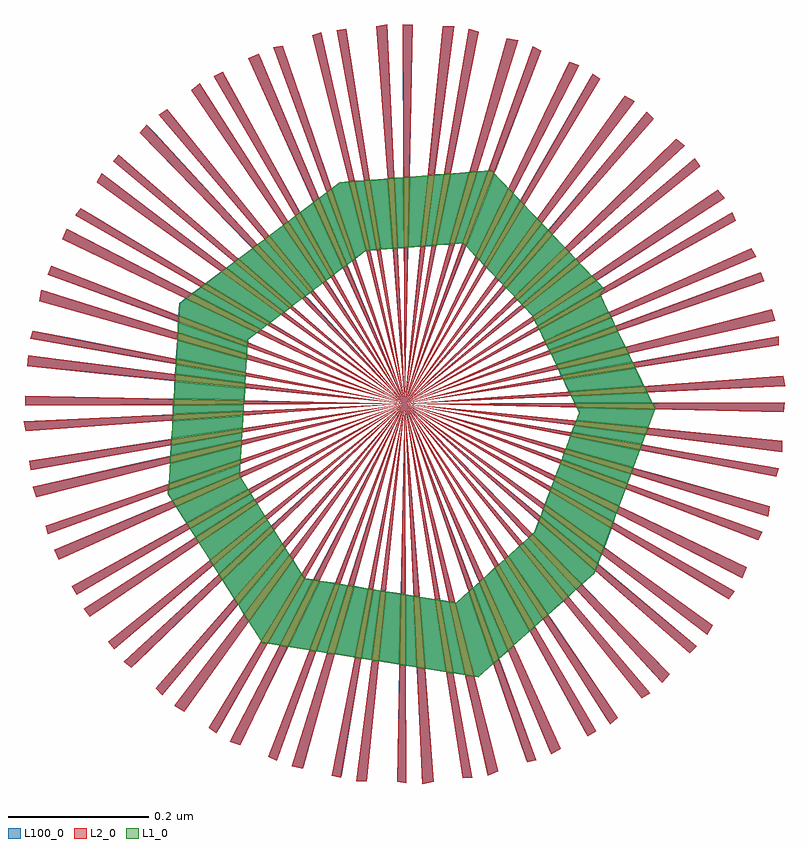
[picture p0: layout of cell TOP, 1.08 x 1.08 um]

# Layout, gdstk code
import gdstk
lib = gdstk.Library(unit=1e-6, precision=1e-09)
def R(c, l, rs):  # rectangles x0, y0, x1, y1
    for r in rs: c.add(gdstk.rectangle(r[:2], r[2:], *l))
def P(c, l, *ps):  # polygons
    for p in ps: c.add(gdstk.Polygon(p, *l))
L1_0 = (1, 0)
L2_0 = (2, 0)
L100_0 = (100, 0)

top = lib.new_cell('TOP')
P(top, L2_0, [(-0.329,2.401),(-0.601,2.867),(-0.588,2.873)],
  [(-0.329,2.401),(0.209,2.441),(0.212,2.426)],
  [(-0.329,2.401),(-0.147,2.909),(-0.135,2.903)],
  [(-0.718,2.025),(-0.729,2.034),(-0.329,2.401)],
  [(-0.329,2.401),(-0.516,2.908),(-0.503,2.91)],
  [(-0.329,2.401),(-0.744,2.746),(-0.736,2.755)],
  [(0.208,2.332),(-0.329,2.401),(0.208,2.348)],
  [(-0.329,2.401),(-0.862,2.493),(-0.858,2.505)],
  [(-0.474,1.882),(-0.49,1.885),(-0.329,2.401)],
  [(-0.329,2.401),(0.193,2.535),(0.198,2.519)],
  [(-0.329,2.401),(-0.238,2.934),(-0.224,2.93)],
  [(0.101,2.072),(-0.329,2.401),(0.109,2.086)],
  [(-0.329,2.401),(0.203,2.497),(0.203,2.484)],
  [(-0.796,2.129),(-0.803,2.141),(-0.329,2.401)],
  [(0.076,2.046),(-0.329,2.401),(0.086,2.056)],
  [(-0.329,2.401),(0.116,2.705),(0.126,2.693)],
  [(0.008,1.982),(-0.329,2.401),(0.02,1.989)],
  [(-0.329,2.401),(-0.461,2.925),(-0.448,2.929)],
  [(-0.853,2.268),(-0.858,2.283),(-0.329,2.401)],
  [(-0.329,2.401),(-0.706,2.786),(-0.696,2.798)],
  [(-0.329,2.401),(-0.849,2.547),(-0.846,2.563)],
  [(-0.868,2.362),(-0.871,2.376),(-0.329,2.401)],
  [(-0.211,1.872),(-0.329,2.401),(-0.196,1.878)],
  [(0.174,2.207),(-0.329,2.401),(0.179,2.219)],
  [(-0.329,2.401),(-0.866,2.454),(-0.865,2.47)],
  [(-0.069,1.928),(-0.329,2.401),(-0.057,1.935)],
  [(-0.327,1.861),(-0.34,1.863),(-0.329,2.401)],
  [(-0.861,2.306),(-0.863,2.32),(-0.329,2.401)],
  [(-0.742,2.052),(-0.751,2.062),(-0.329,2.401)],
  [(-0.329,2.401),(-0.332,2.941),(-0.318,2.94)],
  [(-0.329,2.401),(-0.816,2.635),(-0.81,2.65)],
  [(-0.329,2.401),(0.137,2.673),(0.142,2.661)],
  [(-0.329,2.401),(-0.062,2.87),(-0.051,2.863)],
  [(-0.247,1.868),(-0.329,2.401),(-0.233,1.869)],
  [(-0.329,2.401),(-0.184,2.921),(-0.168,2.918)],
  [(-0.563,1.915),(-0.578,1.92),(-0.329,2.401)],
  [(0.037,2.004),(-0.329,2.401),(0.048,2.016)],
  [(-0.837,2.215),(-0.84,2.227),(-0.329,2.401)],
  [(-0.329,2.401),(-0.679,2.812),(-0.667,2.82)],
  [(-0.329,2.401),(-0.798,2.669),(-0.79,2.679)],
  [(-0.329,2.401),(0.083,2.75),(0.091,2.739)],
  [(-0.869,2.398),(-0.869,2.412),(-0.329,2.401)],
  [(-0.42,1.869),(-0.433,1.872),(-0.329,2.401)],
  [(-0.329,2.401),(0.057,2.778),(0.069,2.768)],
  [(-0.329,2.401),(0.164,2.622),(0.171,2.61)],
  [(-0.777,2.098),(-0.786,2.109),(-0.329,2.401)],
  [(-0.329,2.401),(-0.633,2.847),(-0.621,2.857)],
  [(-0.329,2.401),(-0.275,2.938),(-0.259,2.938)],
  [(-0.511,1.893),(-0.523,1.899),(-0.329,2.401)],
  [(-0.643,1.963),(-0.657,1.971),(-0.329,2.401)],
  [(-0.329,2.401),(-0.426,2.932),(-0.412,2.934)],
  [(0.188,2.24),(-0.329,2.401),(0.19,2.255)],
  [(-0.329,2.401),(0.015,2.816),(0.025,2.806)],
  [(-0.329,2.401),(-0.016,2.839),(-0.002,2.831)],
  [(-0.155,1.891),(-0.329,2.401),(-0.142,1.894)],
  [(-0.329,2.401),(-0.837,2.584),(-0.832,2.597)],
  [(-0.304,1.86),(-0.329,2.401),(-0.288,1.863)],
  [(0.199,2.297),(-0.329,2.401),(0.203,2.309)],
  [(-0.329,2.401),(0.177,2.588),(0.182,2.575)],
  [(-0.037,1.945),(-0.329,2.401),(-0.026,1.954)],
  [(0.21,2.389),(-0.329,2.401),(0.211,2.403)],
  [(-0.398,1.864),(-0.329,2.401),(-0.383,1.864)],
  [(-0.329,2.401),(-0.37,2.938),(-0.354,2.941)],
  [(-0.597,1.932),(-0.608,1.94),(-0.329,2.401)],
  [(-0.329,2.401),(-0.552,2.892),(-0.537,2.899)],
  [(0.132,2.123),(-0.329,2.401),(0.14,2.134)],
  [(-0.329,2.401),(-0.095,2.887),(-0.081,2.882)],
  [(-0.821,2.179),(-0.828,2.193),(-0.329,2.401)],
  [(0.151,2.153),(-0.329,2.401),(0.157,2.168)],
  [(-0.674,1.986),(-0.683,1.996),(-0.329,2.401)],
  [(-0.121,1.902),(-0.329,2.401),(-0.107,1.91)],
  [(-0.329,2.401),(-0.767,2.716),(-0.76,2.729)])
R(top, L100_0, [(-0.659,2.39,-0.558,2.399), (0.027,2.393,0.21,2.394)])
P(top, L100_0, [(-0.085,2.377),(-0.081,2.388),(0.025,2.388),(0.021,2.377)],
  [(-0.862,2.493),(-0.858,2.505),(-0.797,2.493)],
  [(-0.563,2.321),(-0.329,2.401),(-0.547,2.321)],
  [(-0.142,2.258),(-0.329,2.401),(-0.13,2.258)],
  [(-0.335,2.131),(-0.329,2.401),(-0.328,2.131)],
  [(-0.035,2.224),(-0.032,2.232),(-0.018,2.224)],
  [(-0.035,2.524),(-0.039,2.531),(-0.018,2.531)],
  [(0.114,2.134),(-0.035,2.224),(-0.018,2.224),(0.14,2.134)],
  [(-0.085,2.396),(-0.329,2.401),(-0.088,2.401)],
  [(-0.111,2.45),(-0.066,2.46),(-0.005,2.46),(-0.059,2.45)],
  [(-0.185,2.918),(-0.184,2.921),(-0.168,2.918)],
  [(-0.203,2.172),(-0.329,2.401),(-0.196,2.172)],
  [(-0.837,2.215),(-0.84,2.227),(-0.804,2.227)],
  [(-0.555,2.445),(-0.65,2.464),(-0.554,2.464)],
  [(-0.101,2.623),(0.047,2.768),(0.069,2.768),(-0.088,2.623)],
  [(-0.868,2.362),(-0.871,2.376),(-0.674,2.376)],
  [(-0.296,2.727),(-0.275,2.938),(-0.259,2.938),(-0.287,2.727)],
  [(-0.264,2.728),(-0.237,2.731),(-0.238,2.728)],
  [(-0.363,2.62),(-0.363,2.621),(-0.346,2.621)],
  [(-0.324,2.623),(-0.324,2.624),(-0.307,2.624)],
  [(-0.049,2.187),(-0.045,2.197),(-0.031,2.187)],
  [(-0.139,2.234),(-0.147,2.241),(-0.136,2.241)],
  [(-0.627,2.211),(-0.635,2.223),(-0.608,2.223)],
  [(-0.543,2.264),(-0.329,2.401),(-0.532,2.264)],
  [(-0.329,2.401),(-0.088,2.402),(-0.088,2.401)],
  [(-0.26,2.018),(-0.279,2.12),(-0.266,2.12),(-0.244,2.018)],
  [(-0.534,2.061),(-0.533,2.063),(-0.532,2.061)],
  [(-0.088,2.37),(-0.142,2.377),(-0.085,2.377)],
  [(-0.472,2.153),(-0.476,2.159),(-0.468,2.159),(-0.471,2.153)],
  [(-0.284,2.626),(-0.284,2.627),(-0.266,2.627)],
  [(-0.49,1.885),(-0.44,2.045),(-0.429,2.045),(-0.473,1.885)],
  [(0.027,2.394),(0.023,2.402),(0.211,2.402),(0.21,2.394)],
  [(-0.022,2.831),(-0.016,2.839),(-0.002,2.831)],
  [(-0.869,2.398),(-0.869,2.399),(-0.659,2.399)],
  [(-0.828,2.193),(-0.682,2.254),(-0.655,2.254),(-0.79,2.193)],
  [(0.188,2.24),(0.14,2.255),(0.19,2.255)],
  [(0.017,2.367),(-0.085,2.377),(0.021,2.377)],
  [(-0.656,2.443),(-0.655,2.457),(-0.573,2.443)],
  [(0.047,2.768),(0.057,2.778),(0.069,2.768)],
  [(-0.478,2.673),(-0.459,2.687),(-0.453,2.673)],
  [(-0.286,2.123),(-0.329,2.401),(-0.279,2.123)],
  [(-0.869,2.408),(-0.869,2.412),(-0.658,2.408)],
  [(-0.329,2.401),(-0.137,2.472),(-0.121,2.472)],
  [(-0.189,2.57),(-0.196,2.576),(-0.184,2.576)],
  [(-0.655,2.254),(-0.6,2.279),(-0.552,2.279),(-0.598,2.254)],
  [(0.116,2.661),(0.137,2.673),(0.142,2.661)],
  [(-0.619,2.567),(-0.628,2.572),(-0.613,2.572)],
  [(-0.572,2.123),(-0.589,2.15),(-0.548,2.15)],
  [(-0.329,2.401),(-0.135,2.436),(-0.104,2.436)],
  [(-0.213,2.594),(-0.171,2.664),(-0.141,2.664),(-0.191,2.594)],
  [(-0.199,2.049),(-0.232,2.139),(-0.22,2.139),(-0.182,2.049)],
  [(-0.488,2.179),(-0.493,2.186),(-0.483,2.186)],
  [(-0.329,2.401),(-0.33,2.622),(-0.324,2.622)],
  [(-0.528,2.241),(-0.329,2.401),(-0.519,2.241)],
  [(-0.546,2.513),(-0.632,2.558),(-0.603,2.558),(-0.525,2.513)],
  [(-0.124,2.477),(-0.128,2.485),(-0.103,2.485)],
  [(-0.499,2.196),(-0.503,2.202),(-0.494,2.202)],
  [(-0.06,2.574),(-0.056,2.576),(-0.054,2.574)],
  [(-0.751,2.062),(-0.615,2.171),(-0.602,2.171),(-0.73,2.062)],
  [(-0.66,2.263),(-0.666,2.272),(-0.638,2.272)],
  [(-0.402,2.138),(-0.401,2.142),(-0.381,2.138)],
  [(-0.159,2.216),(-0.329,2.401),(-0.148,2.216)],
  [(-0.201,2.168),(-0.203,2.172),(-0.196,2.172)],
  [(-0.492,2.537),(-0.489,2.54),(-0.486,2.537)],
  [(-0.572,2.603),(-0.577,2.607),(-0.566,2.607)],
  [(-0.558,2.401),(-0.557,2.406),(-0.329,2.401)],
  [(-0.553,2.471),(-0.588,2.482),(-0.553,2.482)],
  [(-0.65,2.544),(-0.641,2.551),(-0.626,2.544)],
  [(-0.266,2.627),(-0.258,2.628),(-0.258,2.627)],
  [(-0.124,1.91),(-0.182,2.049),(-0.17,2.049),(-0.107,1.91)],
  [(-0.219,2.594),(-0.217,2.598),(-0.213,2.594)],
  [(-0.23,2.606),(-0.228,2.61),(-0.224,2.606)],
  [(-0.515,2.221),(-0.519,2.227),(-0.509,2.227)],
  [(-0.657,2.423),(-0.657,2.433),(-0.556,2.423)],
  [(-0.558,2.4),(-0.558,2.401),(-0.329,2.401)],
  [(-0.121,2.472),(-0.091,2.482),(-0.015,2.482),(-0.053,2.472)],
  [(-0.663,2.327),(-0.662,2.342),(-0.593,2.342)],
  [(-0.27,2.019),(-0.3,2.024),(-0.271,2.024)],
  [(-0.135,2.436),(-0.107,2.441),(-0.104,2.436)],
  [(-0.525,2.236),(-0.528,2.241),(-0.519,2.241)],
  [(-0.329,2.401),(-0.291,2.625),(-0.284,2.625)],
  [(-0.12,2.36),(-0.329,2.401),(-0.092,2.36)],
  [(-0.121,2.282),(-0.117,2.292),(-0.098,2.282)],
  [(-0.015,2.28),(-0.012,2.287),(0.008,2.28)],
  [(-0.446,2.572),(-0.441,2.576),(-0.438,2.572)],
  [(-0.026,2.504),(-0.03,2.512),(-0.003,2.512)],
  [(0.098,2.693),(0.116,2.705),(0.126,2.693)],
  [(-0.552,2.279),(-0.329,2.401),(-0.538,2.279)],
  [(-0.083,2.224),(-0.13,2.258),(-0.091,2.258),(-0.035,2.224)],
  [(-0.091,2.482),(-0.026,2.504),(-0.015,2.482)],
  [(-0.475,2.559),(-0.539,2.628),(-0.522,2.628),(-0.463,2.559)],
  [(-0.451,2.146),(-0.45,2.149),(-0.428,2.146)],
  [(-0.441,2.576),(-0.444,2.581),(-0.434,2.581)],
  [(-0.502,2.655),(-0.505,2.66),(-0.495,2.66)],
  [(-0.485,2.668),(-0.488,2.673),(-0.478,2.673)],
  [(-0.193,2.565),(-0.189,2.57),(-0.185,2.565)],
  [(-0.204,2.576),(-0.2,2.581),(-0.196,2.576)],
  [(-0.363,2.135),(-0.329,2.401),(-0.356,2.135)],
  [(-0.024,2.255),(-0.077,2.28),(-0.015,2.28)],
  [(-0.329,2.401),(-0.156,2.519),(-0.145,2.519)],
  [(-0.635,2.223),(-0.564,2.264),(-0.543,2.264),(-0.608,2.223)],
  [(0.076,2.046),(0.065,2.056),(0.086,2.056)],
  [(-0.169,2.203),(-0.329,2.401),(-0.161,2.203)],
  [(-0.168,2.538),(-0.163,2.542),(-0.159,2.538)],
  [(-0.475,2.55),(-0.47,2.554),(-0.466,2.55)],
  [(-0.329,2.401),(-0.434,2.581),(-0.428,2.581)],
  [(-0.613,2.572),(-0.59,2.589),(-0.566,2.572)],
  [(-0.329,2.401),(-0.219,2.594),(-0.213,2.594)],
  [(-0.329,2.401),(-0.204,2.576),(-0.196,2.576)],
  [(-0.028,2.245),(-0.024,2.255),(-0.003,2.245)],
  [(-0.156,2.519),(-0.147,2.525),(-0.145,2.519)],
  [(-0.094,2.531),(-0.06,2.55),(-0.048,2.55),(-0.039,2.531)],
  [(-0.556,2.43),(-0.633,2.44),(-0.555,2.44)],
  [(-0.266,2.12),(-0.329,2.401),(-0.258,2.12)],
  [(-0.203,2.031),(-0.195,2.038),(-0.192,2.031)],
  [(-0.622,2.349),(-0.56,2.36),(-0.561,2.349)],
  [(-0.34,1.863),(-0.337,2.028),(-0.328,2.028),(-0.327,1.863)],
  [(-0.465,2.05),(-0.495,2.055),(-0.463,2.055)],
  [(-0.06,2.55),(-0.05,2.555),(-0.048,2.55)],
  [(-0.096,2.126),(-0.105,2.137),(-0.085,2.137)],
  [(-0.632,2.558),(-0.619,2.567),(-0.603,2.558)],
  [(-0.148,2.526),(-0.159,2.538),(-0.128,2.538),(-0.146,2.526)],
  [(-0.133,2.495),(-0.134,2.498),(-0.113,2.498),(-0.118,2.495)],
  [(-0.52,2.516),(-0.54,2.528),(-0.505,2.528)],
  [(-0.287,2.727),(-0.273,2.728),(-0.273,2.727)],
  [(-0.548,2.273),(-0.552,2.279),(-0.538,2.279)],
  [(-0.055,2.245),(-0.121,2.282),(-0.098,2.282),(-0.028,2.245)],
  [(-0.652,2.517),(-0.677,2.526),(-0.651,2.526)],
  [(-0.063,2.583),(0.098,2.693),(0.126,2.693),(-0.045,2.583)],
  [(-0.329,2.401),(-0.248,2.625),(-0.242,2.625)],
  [(-0.683,1.996),(-0.579,2.115),(-0.566,2.115),(-0.666,1.996)],
  [(-0.516,2.908),(-0.503,2.91),(-0.502,2.908)],
  [(-0.588,2.482),(-0.652,2.502),(-0.61,2.502),(-0.553,2.482)],
  [(-0.606,2.178),(-0.622,2.203),(-0.575,2.203)],
  [(-0.148,2.216),(-0.145,2.218),(-0.121,2.218),(-0.118,2.216)],
  [(-0.171,2.664),(-0.159,2.684),(-0.141,2.664)],
  [(-0.353,2.722),(-0.37,2.938),(-0.354,2.938),(-0.344,2.722)],
  [(-0.329,2.401),(-0.346,2.621),(-0.339,2.621)],
  [(-0.329,2.401),(-0.168,2.538),(-0.159,2.538)],
  [(-0.552,2.628),(-0.706,2.786),(-0.685,2.786),(-0.539,2.628)],
  [(-0.134,2.498),(-0.138,2.506),(-0.095,2.506),(-0.113,2.498)],
  [(-0.142,2.377),(-0.329,2.401),(-0.085,2.377)],
  [(-0.093,2.16),(-0.096,2.163),(-0.058,2.163),(-0.059,2.16)],
  [(-0.37,2.938),(-0.354,2.941),(-0.354,2.938)],
  [(-0.143,2.521),(-0.079,2.562),(-0.054,2.562),(-0.124,2.521)],
  [(-0.235,2.031),(-0.257,2.118),(-0.233,2.118),(-0.203,2.031)],
  [(-0.105,2.137),(-0.161,2.203),(-0.146,2.203),(-0.085,2.137)],
  [(-0.004,2.31),(-0.093,2.335),(0.005,2.335)],
  [(-0.579,2.115),(-0.572,2.123),(-0.566,2.115)],
  [(-0.589,2.15),(-0.535,2.202),(-0.503,2.202),(-0.548,2.15)],
  [(-0.533,2.063),(-0.551,2.091),(-0.516,2.091)],
  [(-0.489,2.54),(-0.5,2.55),(-0.475,2.55)],
  [(-0.459,2.562),(-0.467,2.572),(-0.446,2.572)],
  [(-0.381,2.138),(-0.329,2.401),(-0.374,2.138)],
  [(-0.066,2.46),(-0.011,2.472),(-0.005,2.46)],
  [(-0.651,2.526),(-0.65,2.544),(-0.626,2.544),(-0.589,2.526)],
  [(-0.312,2.026),(-0.328,2.028),(-0.312,2.028)],
  [(-0.183,2.077),(-0.217,2.153),(-0.193,2.153),(-0.151,2.077)],
  [(-0.455,2.049),(-0.422,2.143),(-0.41,2.143),(-0.439,2.049)],
  [(-0.433,2.707),(-0.421,2.716),(-0.409,2.716),(-0.406,2.707)],
  [(0.122,2.168),(-0.028,2.245),(-0.003,2.245),(0.157,2.168)],
  [(-0.507,2.186),(-0.499,2.196),(-0.493,2.186)],
  [(-0.422,2.143),(-0.421,2.145),(-0.41,2.143)],
  [(-0.444,2.581),(-0.495,2.66),(-0.48,2.66),(-0.434,2.581)],
  [(-0.13,2.49),(-0.133,2.495),(-0.118,2.495)],
  [(-0.242,2.625),(-0.21,2.707),(-0.182,2.707),(-0.221,2.625)],
  [(-0.561,2.342),(-0.561,2.349),(-0.533,2.349)],
  [(-0.495,2.66),(-0.485,2.668),(-0.48,2.66)],
  [(-0.248,2.625),(-0.247,2.629),(-0.246,2.629),(-0.242,2.625)],
  [(-0.125,2.648),(0.007,2.806),(0.025,2.806),(-0.113,2.648)],
  [(-0.495,2.055),(-0.451,2.146),(-0.428,2.146),(-0.463,2.055)],
  [(-0.052,2.557),(-0.045,2.564),(-0.034,2.564),(-0.046,2.557)],
  [(-0.43,2.584),(-0.435,2.594),(-0.417,2.594)],
  [(-0.594,2.158),(-0.602,2.171),(-0.58,2.171)],
  [(-0.488,2.673),(-0.601,2.867),(-0.585,2.867),(-0.478,2.673)],
  [(-0.121,2.321),(-0.329,2.401),(-0.106,2.321)],
  [(-0.327,1.861),(-0.34,1.863),(-0.327,1.863)],
  [(-0.085,2.137),(-0.077,2.144),(-0.07,2.137)],
  [(-0.161,2.203),(-0.153,2.21),(-0.146,2.203)],
  [(-0.391,2.039),(-0.374,2.135),(-0.363,2.135),(-0.376,2.039)],
  [(-0.566,2.091),(-0.558,2.101),(-0.551,2.091)],
  [(-0.508,2.055),(-0.507,2.057),(-0.495,2.055)],
  [(-0.472,2.151),(-0.471,2.153),(-0.459,2.151)],
  [(-0.165,2.69),(-0.066,2.863),(-0.051,2.863),(-0.155,2.69)],
  [(-0.861,2.306),(-0.863,2.32),(-0.784,2.32)],
  [(-0.032,2.232),(-0.055,2.245),(-0.028,2.245)],
  [(-0.155,1.891),(-0.156,1.894),(-0.142,1.894)],
  [(-0.821,2.179),(-0.828,2.193),(-0.79,2.193)],
  [(-0.536,2.227),(-0.525,2.236),(-0.519,2.227)],
  [(-0.401,2.142),(-0.41,2.143),(-0.401,2.143)],
  [(-0.18,2.69),(-0.175,2.7),(-0.165,2.69)],
  [(-0.121,1.902),(-0.124,1.91),(-0.107,1.91)],
  [(-0.777,2.098),(-0.786,2.109),(-0.761,2.109)],
  [(-0.329,2.401),(-0.149,2.506),(-0.138,2.506)],
  [(-0.329,2.401),(-0.475,2.55),(-0.466,2.55)],
  [(-0.108,2.316),(-0.121,2.321),(-0.106,2.321)],
  [(0.026,2.016),(-0.085,2.137),(-0.07,2.137),(0.048,2.016)],
  [(-0.077,2.144),(-0.093,2.16),(-0.059,2.16)],
  [(-0.863,2.32),(-0.72,2.342),(-0.662,2.342),(-0.784,2.32)],
  [(-0.316,2.128),(-0.329,2.401),(-0.308,2.128)],
  [(-0.84,2.227),(-0.691,2.278),(-0.666,2.278),(-0.804,2.227)],
  [(-0.557,2.406),(-0.658,2.408),(-0.557,2.408)],
  [(-0.329,2.401),(-0.193,2.565),(-0.185,2.565)],
  [(-0.3,2.625),(-0.287,2.727),(-0.273,2.727),(-0.291,2.625)],
  [(-0.5,2.55),(-0.566,2.607),(-0.531,2.607),(-0.475,2.55)],
  [(-0.156,1.894),(-0.203,2.031),(-0.192,2.031),(-0.142,1.894)],
  [(-0.211,1.872),(-0.212,1.878),(-0.196,1.878)],
  [(-0.744,2.746),(-0.736,2.755),(-0.726,2.746)],
  [(-0.224,2.012),(-0.23,2.013),(-0.223,2.013)],
  [(0.083,2.348),(0.013,2.357),(0.118,2.357),(0.208,2.348)],
  [(0.007,2.806),(0.015,2.816),(0.025,2.806)],
  [(-0.563,2.315),(-0.563,2.321),(-0.547,2.321)],
  [(-0.564,2.264),(-0.548,2.273),(-0.543,2.264)],
  [(-0.142,2.514),(-0.145,2.519),(-0.127,2.519),(-0.136,2.514)],
  [(-0.054,2.173),(-0.071,2.187),(-0.049,2.187)],
  [(-0.329,2.401),(-0.404,2.604),(-0.398,2.604)],
  [(-0.655,2.465),(-0.653,2.492),(-0.558,2.465)],
  [(-0.657,2.433),(-0.757,2.443),(-0.656,2.443)],
  [(-0.256,2.118),(-0.238,2.134),(-0.233,2.118)],
  [(-0.106,2.607),(-0.095,2.617),(-0.086,2.607)],
  [(-0.133,2.251),(-0.142,2.258),(-0.13,2.258)],
  [(-0.559,2.384),(-0.558,2.39),(-0.478,2.39)],
  [(0.13,2.484),(0.203,2.497),(0.203,2.484)],
  [(-0.104,2.582),(-0.103,2.583),(-0.063,2.583),(-0.064,2.582)],
  [(-0.092,2.36),(-0.088,2.37),(-0.01,2.36)],
  [(-0.524,2.06),(-0.472,2.151),(-0.459,2.151),(-0.505,2.06)],
  [(-0.329,2.401),(-0.553,2.482),(-0.537,2.482)],
  [(-0.379,2.719),(-0.353,2.721),(-0.353,2.719)],
  [(-0.322,2.724),(-0.296,2.726),(-0.296,2.724)],
  [(-0.816,2.635),(-0.81,2.65),(-0.781,2.635)],
  [(-0.655,2.457),(-0.701,2.465),(-0.655,2.465)],
  [(-0.339,2.622),(-0.344,2.722),(-0.331,2.722),(-0.33,2.622)],
  [(-0.56,2.36),(-0.56,2.366),(-0.526,2.366)],
  [(-0.001,2.452),(-0.005,2.46),(0.05,2.46)],
  [(-0.583,2.594),(-0.572,2.603),(-0.561,2.594)],
  [(-0.073,2.566),(-0.06,2.574),(-0.054,2.574),(-0.047,2.566)],
  [(-0.169,2.548),(-0.106,2.607),(-0.086,2.607),(-0.156,2.548)],
  [(0.132,2.123),(0.114,2.134),(0.14,2.134)],
  [(-0.115,2.298),(-0.108,2.316),(-0.062,2.298)],
  [(-0.217,2.153),(-0.201,2.168),(-0.193,2.153)],
  [(-0.503,2.202),(-0.329,2.401),(-0.494,2.202)],
  [(-0.66,2.377),(-0.559,2.384),(-0.559,2.377)],
  [(-0.228,2.61),(-0.242,2.625),(-0.221,2.625)],
  [(-0.174,2.057),(-0.183,2.077),(-0.151,2.077)],
  [(-0.597,2.594),(-0.767,2.716),(-0.743,2.716),(-0.583,2.594)],
  [(-0.217,2.598),(-0.224,2.606),(-0.212,2.606)],
  [(-0.666,2.272),(-0.666,2.278),(-0.624,2.278),(-0.638,2.272)],
  [(-0.428,2.146),(-0.329,2.401),(-0.421,2.146)],
  [(-0.659,2.399),(-0.558,2.4),(-0.558,2.399)],
  [(-0.088,2.402),(-0.093,2.412),(0.018,2.412),(0.023,2.402)],
  [(-0.682,2.254),(-0.66,2.263),(-0.655,2.254)],
  [(-0.384,2.618),(-0.378,2.619),(-0.378,2.618)],
  [(-0.369,2.619),(-0.363,2.62),(-0.363,2.619)],
  [(-0.33,2.622),(-0.324,2.623),(-0.324,2.622)],
  [(0.21,2.389),(0.027,2.393),(0.21,2.393)],
  [(-0.145,2.519),(-0.143,2.521),(-0.124,2.521),(-0.127,2.519)],
  [(-0.14,2.511),(-0.142,2.514),(-0.136,2.514)],
  [(0.065,2.056),(-0.058,2.163),(-0.042,2.163),(0.086,2.056)],
  [(-0.196,2.576),(-0.141,2.648),(-0.125,2.648),(-0.184,2.576)],
  [(-0.602,2.171),(-0.536,2.227),(-0.519,2.227),(-0.58,2.171)],
  [(-0.563,2.296),(-0.564,2.298),(-0.559,2.298)],
  [(-0.128,2.485),(-0.064,2.512),(-0.03,2.512),(-0.103,2.485)],
  [(-0.562,2.492),(-0.588,2.502),(-0.539,2.502),(-0.552,2.492)],
  [(-0.187,2.18),(-0.19,2.184),(-0.182,2.184)],
  [(-0.166,2.199),(-0.169,2.203),(-0.161,2.203)],
  [(-0.463,2.559),(-0.459,2.562),(-0.457,2.559)],
  [(-0.434,2.581),(-0.43,2.584),(-0.428,2.581)],
  [(-0.119,2.641),(-0.125,2.648),(-0.113,2.648)],
  [(-0.661,2.351),(-0.66,2.366),(-0.56,2.366)],
  [(-0.641,2.551),(-0.656,2.558),(-0.632,2.558)],
  [(-0.043,1.954),(-0.132,2.094),(-0.12,2.094),(-0.026,1.954)],
  [(-0.505,2.66),(-0.633,2.847),(-0.615,2.847),(-0.495,2.66)],
  [(-0.13,2.258),(-0.123,2.277),(-0.091,2.258)],
  [(-0.23,2.013),(-0.235,2.031),(-0.203,2.031),(-0.223,2.013)],
  [(-0.508,2.537),(-0.583,2.594),(-0.561,2.594),(-0.492,2.537)],
  [(-0.073,1.935),(-0.151,2.077),(-0.14,2.077),(-0.057,1.935)],
  [(-0.528,2.635),(-0.532,2.64),(-0.522,2.64)],
  [(-0.59,2.589),(-0.597,2.594),(-0.583,2.594)],
  [(-0.674,1.986),(-0.683,1.996),(-0.666,1.996)],
  [(-0.767,2.716),(-0.76,2.729),(-0.743,2.716)],
  [(-0.5,2.531),(-0.508,2.537),(-0.492,2.537)],
  [(-0.417,2.594),(-0.411,2.598),(-0.409,2.594)],
  [(-0.718,2.025),(-0.729,2.034),(-0.709,2.034)],
  [(-0.64,2.231),(-0.655,2.254),(-0.598,2.254)],
  [(-0.539,2.259),(-0.543,2.264),(-0.532,2.264)],
  [(-0.729,2.034),(-0.603,2.15),(-0.589,2.15),(-0.709,2.034)],
  [(-0.72,2.342),(-0.661,2.351),(-0.662,2.342)],
  [(-0.798,2.669),(-0.79,2.679),(-0.773,2.669)],
  [(-0.554,2.464),(-0.553,2.471),(-0.531,2.464)],
  [(-0.047,2.566),(0.116,2.661),(0.142,2.661),(-0.03,2.566)],
  [(-0.556,2.423),(-0.556,2.43),(-0.501,2.423)],
  [(-0.329,2.401),(-0.463,2.559),(-0.457,2.559)],
  [(-0.212,1.878),(-0.243,2.013),(-0.23,2.013),(-0.196,1.878)],
  [(-0.182,2.184),(-0.166,2.199),(-0.154,2.184)],
  [(-0.633,2.44),(-0.656,2.443),(-0.573,2.443),(-0.555,2.44)],
  [(-0.178,2.548),(-0.173,2.553),(-0.169,2.548)],
  [(-0.403,2.618),(-0.433,2.707),(-0.406,2.707),(-0.384,2.618)],
  [(0.208,2.332),(0.083,2.348),(0.208,2.348)],
  [(-0.421,2.716),(-0.409,2.717),(-0.409,2.716)],
  [(0.013,2.357),(0.017,2.367),(0.118,2.357)],
  [(0.037,2.004),(0.026,2.016),(0.048,2.016)],
  [(-0.628,2.572),(-0.798,2.669),(-0.773,2.669),(-0.613,2.572)],
  [(-0.21,2.733),(-0.149,2.903),(-0.135,2.903),(-0.2,2.733)],
  [(-0.064,2.512),(-0.035,2.524),(-0.03,2.512)],
  [(-0.012,2.287),(-0.051,2.301),(-0.007,2.301)],
  [(-0.409,2.717),(-0.409,2.718),(-0.4,2.718)],
  [(-0.353,2.721),(-0.353,2.722),(-0.344,2.722)],
  [(-0.331,2.723),(-0.331,2.724),(-0.322,2.724)],
  [(-0.296,2.726),(-0.296,2.727),(-0.287,2.727)],
  [(-0.4,2.039),(-0.4,2.04),(-0.391,2.039)],
  [(-0.329,2.401),(-0.384,2.618),(-0.378,2.618)],
  [(-0.523,1.899),(-0.465,2.049),(-0.455,2.049),(-0.509,1.899)],
  [(-0.21,2.707),(-0.202,2.729),(-0.182,2.707)],
  [(-0.426,2.932),(-0.412,2.934),(-0.412,2.932)],
  [(-0.141,2.485),(-0.13,2.49),(-0.128,2.485)],
  [(-0.329,2.401),(-0.555,2.44),(-0.529,2.44)],
  [(-0.182,2.049),(-0.174,2.057),(-0.17,2.049)],
  [(-0.226,2.731),(-0.21,2.733),(-0.211,2.731)],
  [(-0.103,2.12),(-0.096,2.126),(-0.091,2.12)],
  [(-0.742,2.052),(-0.751,2.062),(-0.73,2.062)],
  [(-0.114,2.456),(-0.121,2.472),(-0.053,2.472)],
  [(-0.243,2.015),(-0.26,2.018),(-0.244,2.018)],
  [(-0.27,2.018),(-0.27,2.019),(-0.26,2.018)],
  [(-0.376,2.035),(-0.376,2.036),(-0.366,2.035)],
  [(-0.465,2.049),(-0.465,2.05),(-0.455,2.049)],
  [(-0.853,2.268),(-0.858,2.283),(-0.794,2.283)],
  [(-0.555,2.44),(-0.555,2.445),(-0.529,2.44)],
  [(-0.615,2.171),(-0.606,2.178),(-0.602,2.171)],
  [(-0.096,2.418),(-0.1,2.426),(0.011,2.426)],
  [(-0.329,2.401),(-0.178,2.412),(-0.093,2.412)],
  [(-0.652,2.502),(-0.652,2.517),(-0.61,2.502)],
  [(-0.093,2.412),(0.016,2.417),(0.018,2.412)],
  [(0.008,1.982),(0.002,1.989),(0.02,1.989)],
  [(-0.144,2.084),(-0.15,2.094),(-0.132,2.094)],
  [(-0.258,2.628),(-0.258,2.629),(-0.247,2.629)],
  [(-0.44,2.045),(-0.44,2.046),(-0.429,2.045)],
  [(-0.045,2.564),(-0.047,2.566),(-0.03,2.566),(-0.034,2.564)],
  [(-0.011,2.472),(-0.015,2.482),(0.033,2.482)],
  [(0.174,2.207),(0.143,2.219),(0.179,2.219)],
  [(-0.376,2.036),(-0.391,2.039),(-0.376,2.039)],
  [(-0.137,2.472),(-0.124,2.477),(-0.121,2.472)],
  [(-0.601,2.867),(-0.588,2.873),(-0.585,2.867)],
  [(-0.539,2.502),(-0.533,2.506),(-0.525,2.502)],
  [(-0.159,2.538),(-0.104,2.582),(-0.064,2.582),(-0.128,2.538)],
  [(-0.104,2.436),(-0.001,2.452),(0.006,2.436)],
  [(-0.195,2.038),(-0.199,2.049),(-0.182,2.049)],
  [(0.083,2.086),(-0.049,2.187),(-0.031,2.187),(0.109,2.086)],
  [(-0.663,2.316),(-0.643,2.321),(-0.563,2.321),(-0.578,2.316)],
  [(-0.689,2.502),(-0.849,2.547),(-0.795,2.547),(-0.652,2.502)],
  [(-0.44,2.046),(-0.455,2.049),(-0.439,2.049)],
  [(-0.871,2.376),(-0.85,2.377),(-0.66,2.377),(-0.674,2.376)],
  [(-0.566,2.607),(-0.546,2.622),(-0.531,2.607)],
  [(-0.051,2.301),(-0.106,2.321),(-0.071,2.321),(-0.007,2.301)],
  [(-0.507,2.057),(-0.524,2.06),(-0.505,2.06)],
  [(-0.442,2.707),(-0.516,2.908),(-0.502,2.908),(-0.433,2.707)],
  [(-0.866,2.454),(-0.865,2.47),(-0.741,2.454)],
  [(0.151,2.153),(0.122,2.168),(0.157,2.168)],
  [(-0.071,2.187),(-0.136,2.241),(-0.12,2.241),(-0.049,2.187)],
  [(-0.658,2.408),(-0.657,2.423),(-0.556,2.423),(-0.557,2.408)],
  [(-0.552,2.488),(-0.562,2.492),(-0.552,2.492)],
  [(-0.103,2.331),(-0.122,2.337),(-0.1,2.337)],
  [(-0.539,2.628),(-0.528,2.635),(-0.522,2.628)],
  [(-0.399,2.607),(-0.403,2.618),(-0.385,2.618)],
  [(-0.329,2.401),(-0.369,2.619),(-0.363,2.619)],
  [(-0.561,2.349),(-0.329,2.401),(-0.533,2.349)],
  [(-0.66,2.366),(-0.66,2.377),(-0.559,2.377),(-0.56,2.366)],
  [(-0.129,2.298),(-0.329,2.401),(-0.115,2.298)],
  [(-0.247,1.868),(-0.247,1.869),(-0.233,1.869)],
  [(-0.332,2.94),(-0.332,2.941),(-0.318,2.94)],
  [(-0.308,2.126),(-0.316,2.128),(-0.308,2.128)],
  [(-0.074,2.357),(-0.092,2.36),(-0.01,2.36),(0.013,2.357)],
  [(-0.666,2.278),(-0.596,2.303),(-0.564,2.303),(-0.624,2.278)],
  [(-0.85,2.377),(-0.659,2.386),(-0.66,2.377)],
  [(-0.329,2.401),(-0.556,2.423),(-0.501,2.423)],
  [(-0.279,2.122),(-0.286,2.123),(-0.279,2.123)],
  [(-0.328,2.13),(-0.335,2.131),(-0.328,2.131)],
  [(-0.356,2.134),(-0.363,2.135),(-0.356,2.135)],
  [(-0.374,2.137),(-0.381,2.138),(-0.374,2.138)],
  [(-0.421,2.145),(-0.428,2.146),(-0.421,2.146)],
  [(-0.633,2.847),(-0.621,2.857),(-0.615,2.847)],
  [(-0.654,2.223),(-0.64,2.231),(-0.635,2.223)],
  [(-0.511,1.893),(-0.523,1.899),(-0.509,1.899)],
  [(-0.117,2.292),(-0.129,2.298),(-0.115,2.298)],
  [(-0.566,2.115),(-0.507,2.186),(-0.493,2.186),(-0.547,2.115)],
  [(-0.519,2.227),(-0.329,2.401),(-0.509,2.227)],
  [(-0.378,2.619),(-0.4,2.718),(-0.387,2.718),(-0.369,2.619)],
  [(-0.329,2.401),(-0.141,2.485),(-0.128,2.485)],
  [(-0.084,2.393),(-0.085,2.396),(0.027,2.393)],
  [(-0.107,2.441),(-0.111,2.45),(-0.059,2.45)],
  [(-0.136,2.241),(-0.133,2.251),(-0.12,2.241)],
  [(-0.433,1.872),(-0.4,2.039),(-0.391,2.039),(-0.419,1.872)],
  [(0.13,2.519),(0.193,2.535),(0.198,2.519)],
  [(-0.182,2.707),(-0.097,2.882),(-0.081,2.882),(-0.171,2.707)],
  [(-0.284,2.627),(-0.264,2.728),(-0.238,2.728),(-0.266,2.627)],
  [(-0.103,2.583),(-0.08,2.601),(-0.064,2.583)],
  [(-0.564,2.298),(-0.564,2.303),(-0.547,2.303),(-0.559,2.298)],
  [(-0.553,2.482),(-0.552,2.488),(-0.537,2.482)],
  [(-0.304,1.86),(-0.304,1.863),(-0.288,1.863)],
  [(-0.24,2.139),(-0.329,2.401),(-0.232,2.139)],
  [(-0.123,2.277),(-0.131,2.282),(-0.121,2.282)],
  [(-0.329,2.401),(-0.23,2.606),(-0.224,2.606)],
  [(-0.363,2.621),(-0.379,2.719),(-0.353,2.719),(-0.346,2.621)],
  [(0.005,2.335),(0.008,2.343),(0.054,2.335)],
  [(-0.462,2.693),(-0.552,2.892),(-0.534,2.892),(-0.451,2.693)],
  [(-0.096,2.163),(-0.148,2.216),(-0.118,2.216),(-0.058,2.163)],
  [(-0.691,2.278),(-0.665,2.287),(-0.666,2.278)],
  [(0.199,2.297),(0.138,2.309),(0.203,2.309)],
  [(0.143,2.219),(-0.015,2.28),(0.008,2.28),(0.179,2.219)],
  [(-0.712,2.316),(-0.663,2.327),(-0.663,2.316)],
  [(-0.588,2.502),(-0.651,2.526),(-0.589,2.526),(-0.539,2.502)],
  [(-0.577,2.607),(-0.744,2.746),(-0.726,2.746),(-0.566,2.607)],
  [(0.07,2.739),(0.083,2.75),(0.091,2.739)],
  [(-0.147,2.525),(-0.148,2.526),(-0.146,2.526)],
  [(-0.65,2.464),(-0.655,2.465),(-0.558,2.465),(-0.554,2.464)],
  [(-0.202,2.729),(-0.206,2.733),(-0.2,2.733)],
  [(-0.493,2.186),(-0.329,2.401),(-0.483,2.186)],
  [(-0.086,2.607),(0.07,2.739),(0.091,2.739),(-0.073,2.607)],
  [(-0.564,2.303),(-0.329,2.401),(-0.547,2.303)],
  [(-0.643,1.963),(-0.657,1.971),(-0.637,1.971)],
  [(-0.597,1.932),(-0.608,1.94),(-0.592,1.94)],
  [(-0.706,2.786),(-0.696,2.798),(-0.685,2.786)],
  [(-0.106,2.321),(-0.103,2.331),(-0.071,2.321)],
  [(0.016,2.417),(0.011,2.426),(0.212,2.426)],
  [(-0.007,2.301),(-0.004,2.31),(0.028,2.301)],
  [(-0.622,2.203),(-0.566,2.241),(-0.528,2.241),(-0.575,2.203)],
  [(-0.324,2.624),(-0.322,2.724),(-0.296,2.724),(-0.307,2.624)],
  [(-0.429,2.045),(-0.402,2.138),(-0.381,2.138),(-0.399,2.045)],
  [(-0.387,2.719),(-0.426,2.932),(-0.412,2.932),(-0.379,2.719)],
  [(-0.175,2.7),(-0.182,2.707),(-0.171,2.707)],
  [(-0.137,2.45),(-0.114,2.456),(-0.111,2.45)],
  [(-0.159,2.684),(-0.165,2.69),(-0.155,2.69)],
  [(-0.803,2.141),(-0.654,2.223),(-0.635,2.223),(-0.775,2.141)],
  [(0.101,2.072),(0.083,2.086),(0.109,2.086)],
  [(-0.125,2.101),(-0.138,2.12),(-0.103,2.12)],
  [(-0.039,2.531),(0.137,2.61),(0.171,2.61),(-0.018,2.531)],
  [(-0.701,2.465),(-0.862,2.493),(-0.797,2.493),(-0.655,2.465)],
  [(-0.122,2.337),(-0.329,2.401),(-0.1,2.337)],
  [(-0.398,1.864),(-0.376,2.035),(-0.366,2.035),(-0.383,1.864)],
  [(-0.41,2.143),(-0.329,2.401),(-0.401,2.143)],
  [(-0.134,2.657),(-0.141,2.664),(-0.129,2.664)],
  [(-0.796,2.129),(-0.803,2.141),(-0.775,2.141)],
  [(0.138,2.309),(0.005,2.335),(0.054,2.335),(0.203,2.309)],
  [(-0.153,2.21),(-0.159,2.216),(-0.148,2.216)],
  [(-0.258,2.629),(-0.226,2.731),(-0.211,2.731),(-0.247,2.629)],
  [(-0.476,2.159),(-0.329,2.401),(-0.468,2.159)],
  [(-0.05,2.555),(-0.052,2.557),(-0.046,2.557)],
  [(-0.578,1.92),(-0.508,2.055),(-0.495,2.055),(-0.561,1.92)],
  [(-0.6,2.279),(-0.563,2.296),(-0.552,2.279)],
  [(-0.329,2.401),(-0.417,2.594),(-0.409,2.594)],
  [(-0.643,2.321),(-0.561,2.342),(-0.563,2.321)],
  [(-0.54,2.528),(-0.613,2.572),(-0.566,2.572),(-0.505,2.528)],
  [(-0.404,2.604),(-0.399,2.607),(-0.398,2.604)],
  [(-0.414,2.604),(-0.451,2.693),(-0.437,2.693),(-0.404,2.604)],
  [(-0.533,2.506),(-0.546,2.513),(-0.525,2.513)],
  [(-0.558,2.39),(-0.329,2.401),(-0.478,2.39)],
  [(-0.346,2.621),(-0.339,2.622),(-0.339,2.621)],
  [(-0.307,2.624),(-0.3,2.625),(-0.3,2.624)],
  [(-0.291,2.625),(-0.284,2.626),(-0.284,2.625)],
  [(-0.3,2.024),(-0.308,2.123),(-0.286,2.123),(-0.271,2.024)],
  [(-0.247,1.869),(-0.27,2.018),(-0.26,2.018),(-0.233,1.869)],
  [(0.14,2.255),(-0.007,2.301),(0.028,2.301),(0.19,2.255)],
  [(-0.837,2.584),(-0.832,2.597),(-0.799,2.584)],
  [(-0.329,2.401),(-0.178,2.548),(-0.169,2.548)],
  [(-0.356,2.131),(-0.356,2.134),(-0.335,2.131)],
  [(-0.665,2.287),(-0.663,2.316),(-0.578,2.316)],
  [(-0.502,2.159),(-0.488,2.179),(-0.476,2.159)],
  [(-0.03,2.512),(0.142,2.575),(0.182,2.575),(-0.003,2.512)],
  [(-0.659,2.386),(-0.659,2.39),(-0.558,2.39)],
  [(-0.849,2.547),(-0.846,2.563),(-0.795,2.547)],
  [(-0.56,2.366),(-0.329,2.401),(-0.526,2.366)],
  [(-0.2,2.581),(-0.213,2.594),(-0.191,2.594)],
  [(-0.596,2.303),(-0.563,2.315),(-0.564,2.303)],
  [(-0.145,2.218),(-0.139,2.234),(-0.121,2.218)],
  [(-0.223,2.147),(-0.226,2.153),(-0.217,2.153)],
  [(-0.163,2.542),(-0.169,2.548),(-0.156,2.548)],
  [(-0.08,2.601),(-0.086,2.607),(-0.073,2.607)],
  [(-0.095,2.617),(-0.101,2.623),(-0.088,2.623)],
  [(-0.546,2.622),(-0.552,2.628),(-0.539,2.628)],
  [(-0.653,2.492),(-0.689,2.502),(-0.652,2.502)],
  [(-0.308,2.123),(-0.308,2.126),(-0.286,2.123)],
  [(-0.409,2.718),(-0.461,2.925),(-0.447,2.925),(-0.4,2.718)],
  [(-0.238,2.134),(-0.24,2.139),(-0.232,2.139)],
  [(-0.47,2.554),(-0.475,2.559),(-0.463,2.559)],
  [(-0.757,2.443),(-0.866,2.454),(-0.741,2.454),(-0.656,2.443)],
  [(-0.226,2.153),(-0.329,2.401),(-0.217,2.153)],
  [(-0.608,1.94),(-0.535,2.06),(-0.524,2.06),(-0.592,1.94)],
  [(-0.237,2.731),(-0.185,2.918),(-0.168,2.918),(-0.226,2.731)],
  [(-0.329,2.401),(-0.307,2.624),(-0.3,2.624)],
  [(-0.411,2.598),(-0.414,2.604),(-0.404,2.604)],
  [(0.011,2.426),(0.209,2.441),(0.212,2.426)],
  [(-0.337,2.03),(-0.366,2.035),(-0.337,2.035)],
  [(-0.44,2.702),(-0.442,2.707),(-0.433,2.707)],
  [(-0.185,2.565),(-0.135,2.623),(-0.101,2.623),(-0.161,2.565)],
  [(-0.138,2.506),(-0.132,2.51),(-0.086,2.51),(-0.095,2.506)],
  [(-0.505,2.528),(-0.5,2.531),(-0.496,2.528)],
  [(-0.459,2.687),(-0.462,2.693),(-0.451,2.693)],
  [(-0.15,2.094),(-0.196,2.172),(-0.182,2.172),(-0.132,2.094)],
  [(-0.522,2.64),(-0.502,2.655),(-0.492,2.64)],
  [(-0.093,2.335),(-0.1,2.337),(-0.005,2.337),(0.005,2.335)],
  [(-0.4,2.04),(-0.429,2.045),(-0.399,2.045)],
  [(-0.149,2.506),(-0.14,2.511),(-0.138,2.506)],
  [(-0.273,2.728),(-0.239,2.93),(-0.224,2.93),(-0.264,2.728)],
  [(-0.525,2.513),(-0.52,2.516),(-0.515,2.513)],
  [(-0.656,2.558),(-0.816,2.635),(-0.781,2.635),(-0.632,2.558)],
  [(-0.4,2.718),(-0.387,2.719),(-0.387,2.718)],
  [(-0.344,2.722),(-0.331,2.723),(-0.331,2.722)],
  [(-0.329,2.401),(-0.266,2.627),(-0.258,2.627)],
  [(-0.329,2.401),(-0.137,2.45),(-0.111,2.45)],
  [(-0.151,2.077),(-0.144,2.084),(-0.14,2.077)],
  [(-0.173,2.553),(-0.185,2.565),(-0.161,2.565)],
  [(-0.141,2.664),(-0.022,2.831),(-0.002,2.831),(-0.129,2.664)],
  [(-0.337,2.028),(-0.337,2.03),(-0.328,2.028)],
  [(-0.535,2.202),(-0.515,2.221),(-0.503,2.202)],
  [(-0.232,2.139),(-0.223,2.147),(-0.22,2.139)],
  [(-0.558,2.101),(-0.566,2.115),(-0.547,2.115)],
  [(-0.329,2.401),(-0.505,2.528),(-0.496,2.528)],
  [(-0.657,1.971),(-0.566,2.091),(-0.551,2.091),(-0.637,1.971)],
  [(-0.056,2.576),(-0.063,2.583),(-0.045,2.583)],
  [(-0.131,2.282),(-0.329,2.401),(-0.121,2.282)],
  [(0.137,2.61),(0.164,2.622),(0.171,2.61)],
  [(-0.178,2.412),(-0.096,2.418),(-0.093,2.412)],
  [(-0.461,2.925),(-0.448,2.929),(-0.447,2.925)],
  [(-0.037,1.945),(-0.043,1.954),(-0.026,1.954)],
  [(-0.132,2.094),(-0.125,2.101),(-0.12,2.094)],
  [(-0.077,2.28),(-0.115,2.298),(-0.062,2.298),(-0.015,2.28)],
  [(-0.366,2.035),(-0.356,2.131),(-0.335,2.131),(-0.337,2.035)],
  [(-0.094,2.355),(-0.12,2.36),(-0.092,2.36)],
  [(-0.1,2.426),(-0.104,2.436),(0.006,2.436),(0.011,2.426)],
  [(-0.081,2.388),(-0.084,2.393),(0.027,2.393),(0.025,2.388)],
  [(-0.304,1.863),(-0.312,2.024),(-0.3,2.024),(-0.288,1.863)],
  [(-0.786,2.109),(-0.639,2.203),(-0.622,2.203),(-0.761,2.109)],
  [(-0.662,2.342),(-0.622,2.349),(-0.561,2.349),(-0.593,2.342)],
  [(0.008,2.343),(-0.074,2.357),(0.013,2.357)],
  [(-0.451,2.693),(-0.44,2.702),(-0.437,2.693)],
  [(-0.19,2.184),(-0.329,2.401),(-0.182,2.184)],
  [(-0.858,2.283),(-0.712,2.316),(-0.663,2.316),(-0.794,2.283)],
  [(-0.374,2.135),(-0.374,2.137),(-0.363,2.135)],
  [(-0.677,2.526),(-0.837,2.584),(-0.799,2.584),(-0.651,2.526)],
  [(-0.603,2.15),(-0.594,2.158),(-0.589,2.15)],
  [(-0.196,2.172),(-0.187,2.18),(-0.182,2.172)],
  [(-0.069,1.928),(-0.073,1.935),(-0.057,1.935)],
  [(-0.329,2.401),(-0.492,2.537),(-0.486,2.537)],
  [(-0.435,2.594),(-0.478,2.673),(-0.453,2.673),(-0.417,2.594)],
  [(-0.459,2.151),(-0.329,2.401),(-0.449,2.151)],
  [(-0.331,2.724),(-0.332,2.94),(-0.318,2.94),(-0.322,2.724)],
  [(-0.869,2.399),(-0.869,2.408),(-0.658,2.408),(-0.659,2.399)],
  [(-0.329,2.401),(-0.446,2.572),(-0.438,2.572)],
  [(-0.147,2.241),(-0.329,2.401),(-0.136,2.241)],
  [(-0.312,2.024),(-0.312,2.026),(-0.3,2.024)],
  [(-0.328,2.128),(-0.328,2.13),(-0.316,2.128)],
  [(-0.532,2.64),(-0.679,2.812),(-0.661,2.812),(-0.522,2.64)],
  [(-0.135,2.623),(-0.119,2.641),(-0.101,2.623)],
  [(-0.474,1.882),(-0.49,1.885),(-0.473,1.885)],
  [(-0.015,2.482),(0.13,2.519),(0.198,2.519),(0.033,2.482)],
  [(-0.551,2.091),(-0.502,2.159),(-0.476,2.159),(-0.516,2.091)],
  [(-0.257,2.118),(-0.266,2.12),(-0.258,2.12)],
  [(-0.329,2.401),(-0.525,2.513),(-0.515,2.513)],
  [(-0.1,2.337),(-0.094,2.355),(-0.005,2.337)],
  [(0.142,2.575),(0.177,2.588),(0.182,2.575)],
  [(-0.243,2.013),(-0.243,2.015),(-0.23,2.013)],
  [(-0.279,2.12),(-0.279,2.122),(-0.266,2.12)],
  [(-0.552,2.892),(-0.537,2.899),(-0.534,2.892)],
  [(0.002,1.989),(-0.103,2.12),(-0.091,2.12),(0.02,1.989)],
  [(-0.566,2.241),(-0.539,2.259),(-0.528,2.241)],
  [(-0.639,2.203),(-0.627,2.211),(-0.622,2.203)],
  [(-0.42,1.869),(-0.433,1.872),(-0.419,1.872)],
  [(-0.149,2.903),(-0.147,2.909),(-0.135,2.903)],
  [(-0.329,2.401),(-0.539,2.502),(-0.525,2.502)],
  [(-0.563,1.915),(-0.578,1.92),(-0.561,1.92)],
  [(-0.066,2.863),(-0.062,2.87),(-0.051,2.863)],
  [(-0.141,2.648),(-0.134,2.657),(-0.125,2.648)],
  [(0.023,2.402),(0.211,2.403),(0.211,2.402)],
  [(-0.328,2.028),(-0.328,2.128),(-0.316,2.128),(-0.312,2.028)],
  [(-0.679,2.812),(-0.667,2.82),(-0.661,2.812)],
  [(-0.535,2.06),(-0.534,2.061),(-0.532,2.061),(-0.524,2.06)],
  [(-0.329,2.401),(-0.554,2.464),(-0.531,2.464)],
  [(-0.45,2.149),(-0.459,2.151),(-0.449,2.151)],
  [(-0.239,2.93),(-0.238,2.934),(-0.224,2.93)],
  [(-0.132,2.51),(-0.094,2.531),(-0.039,2.531),(-0.086,2.51)],
  [(-0.058,2.163),(-0.054,2.173),(-0.042,2.163)],
  [(-0.097,2.882),(-0.095,2.887),(-0.081,2.882)],
  [(-0.045,2.197),(-0.083,2.224),(-0.035,2.224)],
  [(-0.005,2.46),(0.13,2.484),(0.203,2.484),(0.05,2.46)],
  [(-0.467,2.572),(-0.522,2.64),(-0.492,2.64),(-0.446,2.572)],
  [(-0.138,2.12),(-0.182,2.184),(-0.154,2.184),(-0.103,2.12)],
  [(-0.224,2.606),(-0.18,2.69),(-0.165,2.69),(-0.212,2.606)],
  [(-0.079,2.562),(-0.073,2.566),(-0.047,2.566),(-0.054,2.562)])
top.add(gdstk.FlexPath([(-0.081,2.529),(-0.226,2.681),(-0.403,2.667),(-0.601,2.518),(-0.615,2.285),(-0.502,2.107),(-0.24,2.065),(-0.102,2.189),(-0.027,2.391),(-0.109,2.561)], 0.1, ends="flush", simple_path=True, layer=1, datatype=0))  # L1_0

lib.write_gds('TOP.gds')
